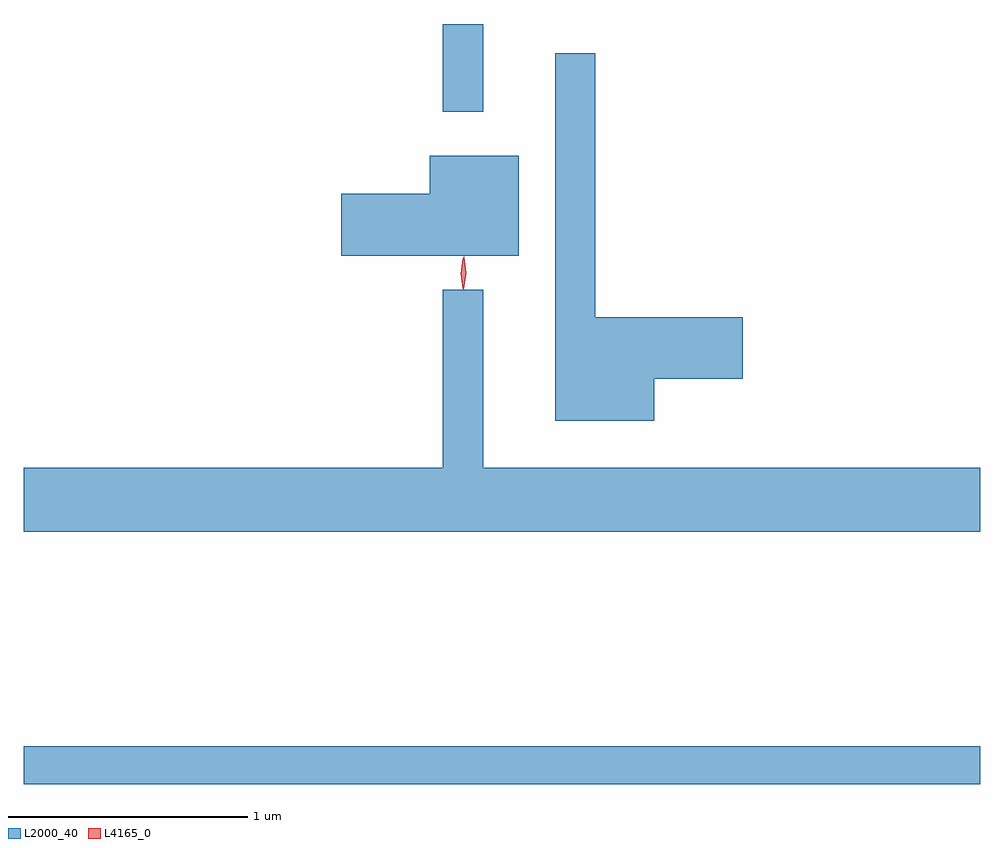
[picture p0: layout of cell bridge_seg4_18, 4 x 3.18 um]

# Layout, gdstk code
import gdstk
lib = gdstk.Library(unit=1e-6, precision=1e-09)
def R(c, l, rs):  # rectangles x0, y0, x1, y1
    for r in rs: c.add(gdstk.rectangle(r[:2], r[2:], *l))
def P(c, l, *ps):  # polygons
    for p in ps: c.add(gdstk.Polygon(p, *l))
L2000_40 = (2000, 40)
L4165_0 = (4165, 0)

bridge_seg4_18 = lib.new_cell('bridge_seg4_18')
R(bridge_seg4_18, L2000_40, [(1239.978,1344.741,1243.978,1344.899), (1241.731,1347.553,1241.899,1347.92)])
P(bridge_seg4_18, L2000_40, [(1242.614,1346.436),(1242.984,1346.436),(1242.984,1346.694),(1242.369,1346.694),(1242.369,1347.798),(1242.201,1347.798),(1242.201,1346.261),(1242.614,1346.261)],
  [(1242.049,1347.369),(1241.676,1347.369),(1241.676,1347.209),(1241.306,1347.209),(1241.306,1346.951),(1242.049,1346.951)],
  [(1243.978,1346.064),(1241.899,1346.064),(1241.899,1346.808),(1241.731,1346.808),(1241.731,1346.064),(1239.978,1346.064),(1239.978,1345.796),(1243.978,1345.796)])
P(bridge_seg4_18, L4165_0, [(1241.818,1346.81),(1241.818,1346.81),(1241.809,1346.878),(1241.819,1346.946),(1241.82,1346.946),(1241.82,1346.946),(1241.829,1346.878),(1241.818,1346.81)],
  [(1241.814,1346.813),(1241.805,1346.876),(1241.814,1346.939),(1241.815,1346.94),(1241.815,1346.939),(1241.825,1346.876),(1241.815,1346.813),(1241.815,1346.813)])

lib.write_gds('bridge_seg4_18.gds')
